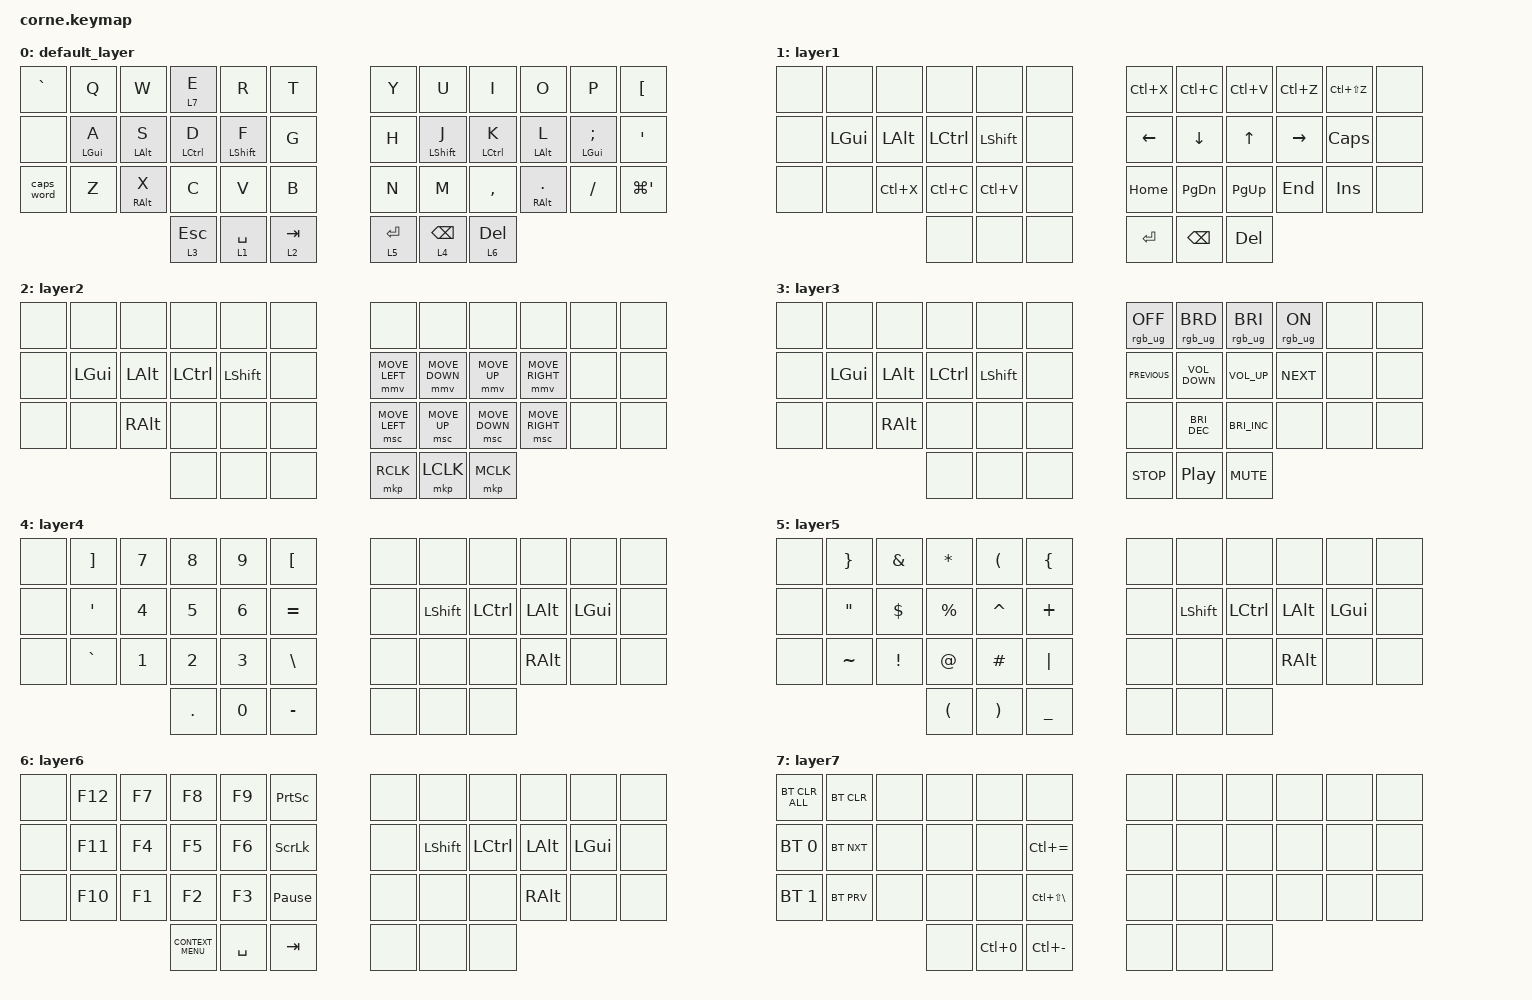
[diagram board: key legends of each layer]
/*
 * Copyright (c) 2020 The ZMK Contributors
 *
 * SPDX-License-Identifier: MIT
 */

#define ZMK_MOUSE_DEFAULT_MOVE_VAL 1400  // 600
#define ZMK_MOUSE_DEFAULT_SCRL_VAL 4    // 10

#include <dt-bindings/zmk/mouse.h>
#include <behaviors.dtsi>
#include <dt-bindings/zmk/bt.h>
#include <dt-bindings/zmk/keys.h>
#include <dt-bindings/zmk/rgb.h>

&lt {
    tapping-term-ms = <200>;
    quick-tap-ms = <250>;
};

&mmv {
    acceleration-exponent = <1>;      // 1
    time-to-max-speed-ms = <100>;     // 300
    delay-ms = <0>;                   // 0
};

&msc {
    acceleration-exponent = <1>;      // 0
    time-to-max-speed-ms = <600>;      // 300
    delay-ms = <0>;                   // 0
};

/ {
    behaviors {
        hm: homerow_tap_preferred_mods {
           compatible = "zmk,behavior-hold-tap";
           label = "HOMEROW_MODS";
           #binding-cells = <2>;
           tapping-term-ms = <200>;
           quick-tap-ms = <250>;
           flavor = "tap-preferred";
           bindings = <&kp>, <&kp>;
        };
    };
    keymap {
        compatible = "zmk,keymap";
        //  &none  &none  &none  &none  &none  &none           &none  &none  &none  &none  &none  &none
        //  &none  &none  &none  &none  &none  &none           &none  &none  &none  &none  &none  &none
        //  &none  &none  &none  &none  &none  &none           &none  &none  &none  &none  &none  &none
        //                       &none  &none  &none           &none  &none  &none
        default_layer {
            // DEFAULT LAYER
            bindings = <
                &kp GRAVE  &kp Q       &kp W        &lt 7 E       &kp R         &kp T               &kp Y        &kp U            &kp I        &kp O         &kp P               &kp LEFT_BRACKET
                &none      &hm LGUI A  &hm LALT S   &hm LCTRL D   &hm LSHIFT F  &kp G               &kp H        &hm LSHIFT J     &hm LCTRL K  &hm LALT L    &hm LGUI SEMICOLON  &kp SINGLE_QUOTE
                &caps_word      &kp Z       &hm RALT X   &kp C         &kp V         &kp B               &kp N        &kp M            &kp COMMA    &hm RALT DOT  &kp SLASH           &kp LG(SINGLE_QUOTE)
                                                    &lt 3 ESCAPE  &lt 1 SPACE   &lt 2 TAB           &lt 5 ENTER  &lt 4 BACKSPACE  &lt 6 DELETE
            >;
        };
        layer1 {
            // BUTTONS LAYER
            bindings = <
                &none  &none     &none      &none      &none       &none           &kp LC(X)  &kp LC(C)      &kp LC(V)    &kp LC(Z)  &kp LC(LS(Z))  &none
                &none  &kp LGUI  &kp LALT   &kp LCTRL  &kp LSHIFT  &none           &kp LEFT   &kp DOWN       &kp UP       &kp RIGHT  &kp CAPS       &none
                &none  &none     &kp LC(X)  &kp LC(C)  &kp LC(V)   &none           &kp HOME   &kp PAGE_DOWN  &kp PAGE_UP  &kp END    &kp INSERT     &none
                                           &none      &none       &none           &kp ENTER  &kp BACKSPACE  &kp DELETE
            >;
        };
        layer2 {
            // MOUSE LAYER
            bindings = <
                &none  &none     &none     &none      &none       &none           &none          &none          &none          &none           &none       &none
                &none  &kp LGUI  &kp LALT  &kp LCTRL  &kp LSHIFT  &none           &mmv MOVE_LEFT &mmv MOVE_DOWN &mmv MOVE_UP   &mmv MOVE_RIGHT &none       &none
                &none  &none     &kp RALT  &none      &none       &none           &msc MOVE_LEFT &msc MOVE_UP   &msc MOVE_DOWN &msc MOVE_RIGHT &none       &none
                                           &none      &none       &none           &mkp RCLK      &mkp LCLK      &mkp MCLK
            >;
        };
        layer3 {
            // MEDIA LAYER
            bindings = <
                &none  &none     &none     &none      &none       &none           &rgb_ug RGB_OFF &rgb_ug RGB_BRD       &rgb_ug RGB_BRI       &rgb_ug RGB_ON       &none       &none
                &none  &kp LGUI  &kp LALT  &kp LCTRL  &kp LSHIFT  &none           &kp C_PREVIOUS  &kp C_VOLUME_DOWN     &kp C_VOLUME_UP       &kp C_NEXT           &none       &none
                &none  &none     &kp RALT  &none      &none       &none           &none           &kp C_BRIGHTNESS_DEC  &kp C_BRIGHTNESS_INC  &none                &none       &none
                                           &none      &none       &none           &kp C_STOP      &kp C_PLAY_PAUSE      &kp C_MUTE
            >;
        };
        layer4 {
            // NUMBERS LAYER
            bindings = <
                &none  &kp RIGHT_BRACKET  &kp N7  &kp N8   &kp N9  &kp LEFT_BRACKET           &none  &none       &none      &none     &none       &none
                &none  &kp SINGLE_QUOTE   &kp N4  &kp N5   &kp N6  &kp EQUAL                  &none  &kp LSHIFT  &kp LCTRL  &kp LALT  &kp LGUI    &none
                &none  &kp GRAVE          &kp N1  &kp N2   &kp N3  &kp BACKSLASH              &none  &none       &none      &kp RALT  &none       &none
                                                  &kp DOT  &kp N0  &kp MINUS                  &none  &none       &none
            >;
        };
        layer5 {
            // Symbols LAYER
            bindings = <
                &none  &kp RIGHT_BRACE    &kp AMPS         &kp ASTERISK          &kp LPAR               &kp LEFT_BRACE            &none  &none       &none     &none     &none       &none
                &none  &kp DOUBLE_QUOTES  &kp DOLLAR       &kp PERCENT           &kp CARET              &kp PLUS                  &none  &kp LSHIFT  &kp LCTRL &kp LALT  &kp LGUI    &none
                &none  &kp TILDE          &kp EXCLAMATION  &kp AT                &kp HASH               &kp PIPE                  &none  &none       &none     &kp RALT  &none       &none
                                                           &kp LEFT_PARENTHESIS  &kp RIGHT_PARENTHESIS  &kp UNDERSCORE            &none  &none       &none
            >;
        };
        layer6 {
            // FUNCTION KEYS LAYER
            bindings = <
               &none &kp F12 &kp F7 &kp F8                &kp F9     &kp PRINTSCREEN                 &none  &none       &none     &none     &none       &none
               &none &kp F11 &kp F4 &kp F5                &kp F6     &kp SCROLLLOCK                  &none  &kp LSHIFT  &kp LCTRL &kp LALT  &kp LGUI    &none
               &none &kp F10 &kp F1 &kp F2                &kp F3     &kp PAUSE_BREAK                 &none  &none       &none     &kp RALT  &none       &none
                                    &kp K_CONTEXT_MENU    &kp SPACE  &kp TAB                         &none  &none       &none
            >;
        };
        layer7 {
            // GRAPHICS EDITOR LAYER
            bindings = <
                &bt BT_CLR_ALL  &bt BT_CLR  &none  &none  &none       &none                           &none  &none  &none  &none  &none  &none
                &bt BT_SEL 0    &bt BT_NXT  &none  &none  &none       &kp LC(EQUAL)                   &none  &none  &none  &none  &none  &none
                &bt BT_SEL 1    &bt BT_PRV  &none  &none  &none       &kp LC(LS(BACKSLASH))           &none  &none  &none  &none  &none  &none
                                                   &none  &kp LC(N0)  &kp LC(MINUS)                   &none  &none  &none
            >;
        };
    };
};
